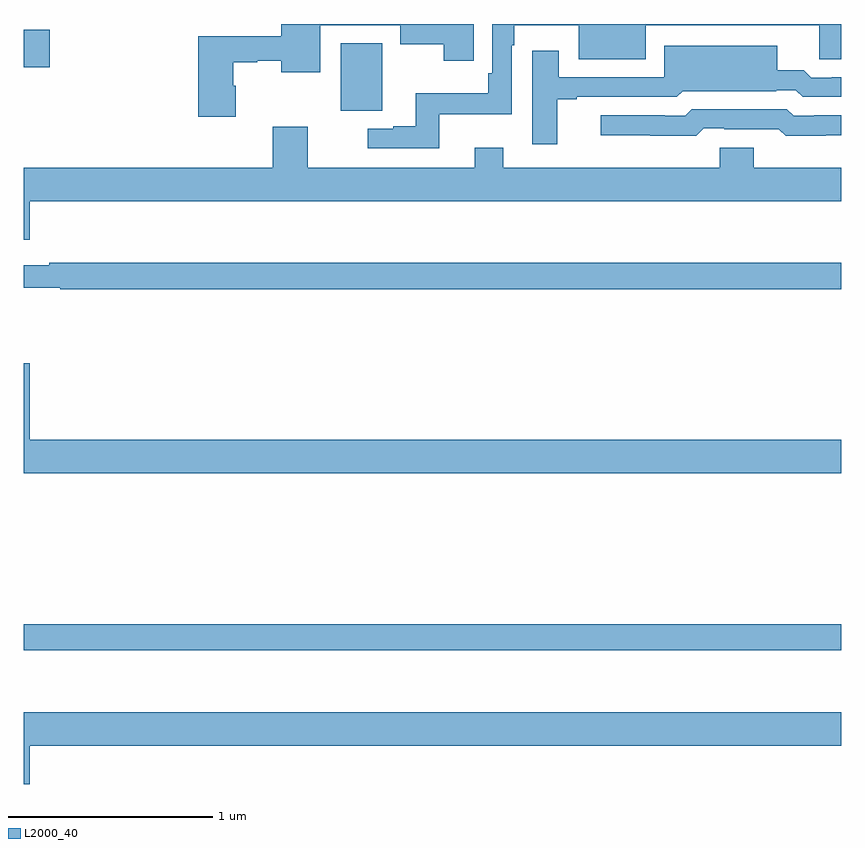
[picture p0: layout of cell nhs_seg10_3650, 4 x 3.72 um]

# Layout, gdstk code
import gdstk
lib = gdstk.Library(unit=1e-6, precision=1e-09)
def R(c, l, rs):  # rectangles x0, y0, x1, y1
    for r in rs: c.add(gdstk.rectangle(r[:2], r[2:], *l))
def P(c, l, *ps):  # polygons
    for p in ps: c.add(gdstk.Polygon(p, *l))
L2000_40 = (2000, 40)

nhs_seg10_3650 = lib.new_cell('nhs_seg10_3650')
R(nhs_seg10_3650, L2000_40, [(309,1315.434,313,1315.562), (310.55,1318.076,310.753,1318.405), (309,1318.289,309.127,1318.472)])
P(nhs_seg10_3650, L2000_40, [(310.037,1318.197),(310.024,1318.197),(310.024,1318.312),(310.142,1318.312),(310.142,1318.32),(310.259,1318.32),(310.259,1318.265),(310.45,1318.265),(310.45,1318.494),(310.842,1318.494),(310.842,1318.402),(311.056,1318.402),(311.056,1318.32),(311.203,1318.32),(311.203,1318.5),(310.259,1318.5),(310.259,1318.441),(309.854,1318.441),(309.854,1318.047),(310.037,1318.047)],
  [(311.032,1318.058),(311.388,1318.058),(311.388,1318.397),(311.401,1318.397),(311.401,1318.494),(311.717,1318.494),(311.717,1318.328),(312.043,1318.328),(312.043,1318.494),(312.893,1318.494),(312.893,1318.328),(313,1318.328),(313,1318.5),(311.292,1318.5),(311.292,1318.258),(311.272,1318.258),(311.272,1318.162),(310.919,1318.162),(310.919,1318),(310.809,1318),(310.809,1317.987),(310.683,1317.987),(310.683,1317.891),(311.032,1317.891)],
  [(311.611,1318.131),(311.707,1318.131),(311.707,1318.143),(312.196,1318.143),(312.225,1318.172),(312.683,1318.172),(312.683,1318.176),(312.779,1318.176),(312.812,1318.143),(313,1318.143),(313,1318.239),(312.955,1318.239),(312.955,1318.236),(312.855,1318.236),(312.817,1318.274),(312.688,1318.274),(312.688,1318.393),(312.135,1318.393),(312.135,1318.239),(311.617,1318.239),(311.617,1318.369),(311.489,1318.369),(311.489,1317.912),(311.611,1317.912)],
  [(312.327,1317.99),(312.427,1317.99),(312.427,1317.986),(312.695,1317.986),(312.728,1317.954),(312.926,1317.954),(312.926,1317.956),(313,1317.956),(313,1318.053),(312.868,1318.053),(312.868,1318.05),(312.768,1318.05),(312.735,1318.083),(312.27,1318.083),(312.237,1318.05),(312.137,1318.05),(312.137,1318.053),(311.823,1318.053),(311.823,1317.956),(312.066,1317.956),(312.066,1317.954),(312.291,1317.954)],
  [(309.028,1317.632),(313,1317.632),(313,1317.796),(312.572,1317.796),(312.572,1317.895),(312.407,1317.895),(312.407,1317.796),(311.347,1317.796),(311.347,1317.895),(311.207,1317.895),(311.207,1317.796),(310.389,1317.796),(310.389,1317.997),(310.217,1317.997),(310.217,1317.796),(309,1317.796),(309,1317.444),(309.028,1317.444)],
  [(313,1317.331),(309.124,1317.331),(309.124,1317.318),(309,1317.318),(309,1317.21),(309.178,1317.21),(309.178,1317.202),(313,1317.202)],
  [(313,1316.464),(309.028,1316.464),(309.028,1316.839),(309,1316.839),(309,1316.3),(313,1316.3)],
  [(309.028,1314.968),(313,1314.968),(313,1315.132),(309,1315.132),(309,1314.78),(309.028,1314.78)])

lib.write_gds('nhs_seg10_3650.gds')
